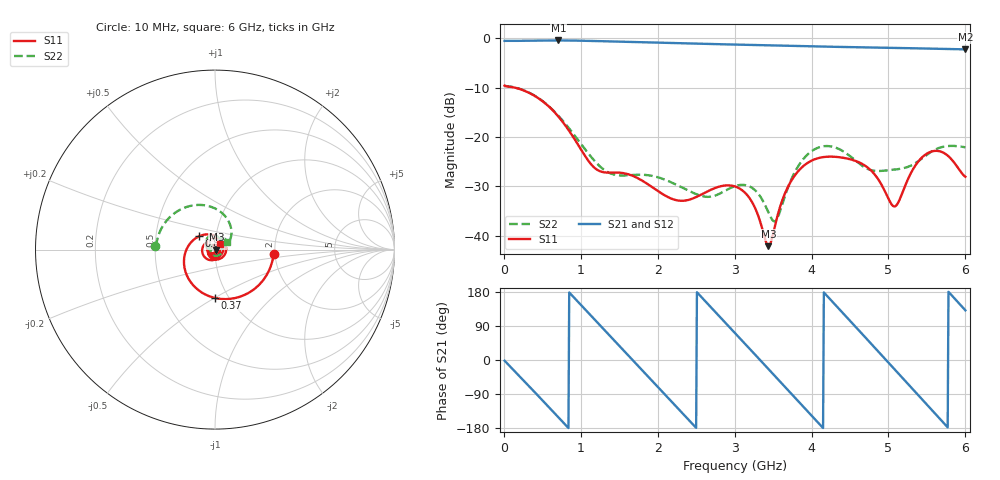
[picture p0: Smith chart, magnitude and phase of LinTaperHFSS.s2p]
! Touchstone file from project TaperedLine_and_RadialStub
! Exported from HFSS 2018.0.0
! Variables:
!  $h = 62mil
!  $t = 0.7mil
!  h = 62mil
!  lam = 65.346mm
!  t = 0.7mil
!  w = 2.99067mm
!  w1 = 2.47403mm
!  w2 = 1.86975mm
!  w3 = 1.29407mm
!  w4 = 0.902071mm
!  w5 = 0.6694mm
!Data is not renormalized
# GHZ S MA
! Modal data exported
! Port[1] = 1:1
! Port[2] = 2:1
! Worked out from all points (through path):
!   600 points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, 10 MHz to 6 GHz, reference per port
!   highest |S21| = -0.43 dB at 710 MHz (marker M1); lowest = -2.2 dB at 6 GHz (marker M2)
!   group delay of S21, straight-line fit = 606 ps
!   lowest |S11| = -42.1 dB at 3.44 GHz (marker M3), VSWR 1.02
!   |S11| at or under -10 dB: 145.5 MHz to end of sweep
!   |S22| runs from -37.1 to -9.6 dB; largest |S21 - S12| = 2e-14
!   S11 on the Smith chart (normalised r, x): 10 MHz: 1.99, -0.10; 370 MHz: 0.87, -0.50; 850 MHz: 0.83, +0.13; 6 GHz: 1.05, +0.06
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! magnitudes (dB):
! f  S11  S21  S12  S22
! 10 MHz  -9.6  -0.5  -0.5  -9.6
! 370 MHz  -11.4  -0.5  -0.5  -11.3
! 710 MHz  -15.9  -0.4  -0.4  -15.7
! 850 MHz  -18.8  -0.4  -0.4  -18.3
! 1.01 GHz  -22.7  -0.5  -0.5  -21.5
! 1.38 GHz  -27.2  -0.6  -0.6  -27.3
! 2.01 GHz  -31.0  -0.9  -0.9  -28.2
! 2.31 GHz  -32.9  -1.0  -1.0  -30.2
! 2.62 GHz  -31.2  -1.1  -1.1  -32.1
! 3.01 GHz  -30.0  -1.3  -1.3  -29.9
! 3.23 GHz  -33.3  -1.3  -1.3  -30.3
! 3.44 GHz  -42.1  -1.4  -1.4  -35.3
! 3.54 GHz  -37.0  -1.4  -1.4  -36.9
! 3.7 GHz  -29.9  -1.5  -1.5  -30.0
! 4.01 GHz  -24.7  -1.6  -1.6  -22.8
! 4.29 GHz  -24.0  -1.7  -1.7  -22.0
! 4.64 GHz  -25.3  -1.8  -1.8  -25.6
! 5.01 GHz  -32.8  -1.9  -1.9  -26.7
! 5.11 GHz  -33.7  -1.9  -1.9  -26.5
! 5.35 GHz  -25.8  -2.0  -2.0  -25.3
! 5.56 GHz  -22.9  -2.1  -2.1  -22.9
! 6 GHz  -28.0  -2.2  -2.2  -22.1
